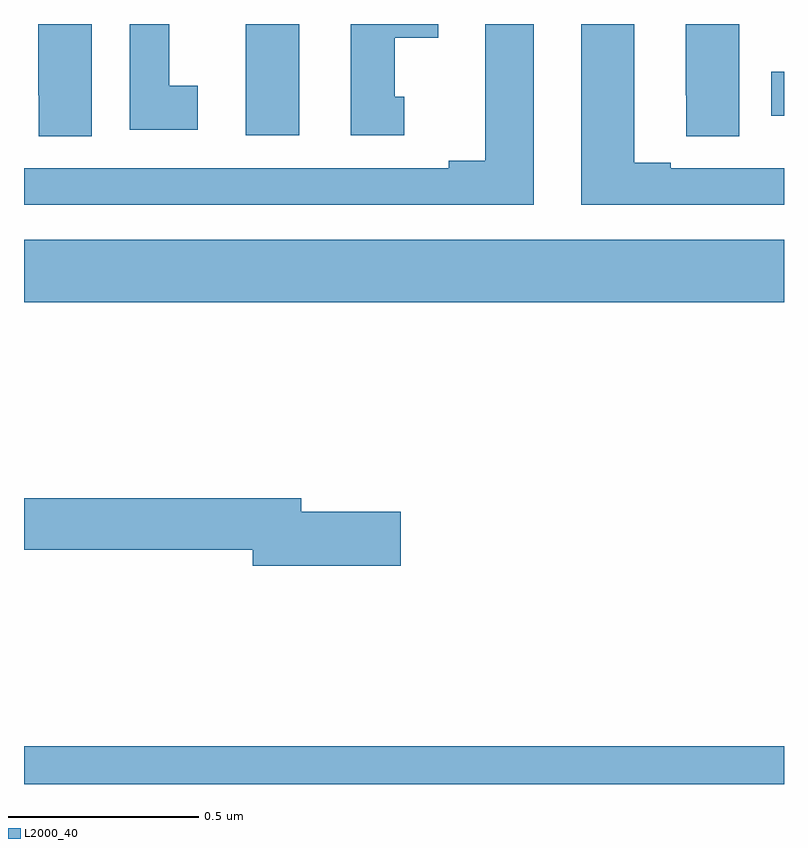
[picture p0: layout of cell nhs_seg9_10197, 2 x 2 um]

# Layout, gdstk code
import gdstk
lib = gdstk.Library(unit=1e-6, precision=1e-09)
def R(c, l, rs):  # rectangles x0, y0, x1, y1
    for r in rs: c.add(gdstk.rectangle(r[:2], r[2:], *l))
def P(c, l, *ps):  # polygons
    for p in ps: c.add(gdstk.Polygon(p, *l))
L2000_40 = (2000, 40)

nhs_seg9_10197 = lib.new_cell('nhs_seg9_10197')
R(nhs_seg9_10197, L2000_40, [(240,1180.5,242,1180.6), (240,1181.768,242,1181.932), (240.584,1182.207,240.724,1182.5), (241.967,1182.258,242,1182.375)])
P(nhs_seg9_10197, L2000_40, [(241.342,1182.5),(241.214,1182.5),(241.214,1182.14),(241.118,1182.14),(241.118,1182.12),(240,1182.12),(240,1182.024),(241.342,1182.024)],
  [(240.457,1182.338),(240.382,1182.338),(240.382,1182.5),(240.278,1182.5),(240.278,1182.222),(240.457,1182.222)],
  [(240.178,1182.5),(240.038,1182.5),(240.038,1182.313),(240.039,1182.313),(240.039,1182.205),(240.178,1182.205)],
  [(241,1182.309),(240.976,1182.309),(240.976,1182.464),(241.09,1182.464),(241.09,1182.5),(240.86,1182.5),(240.86,1182.207),(241,1182.207)],
  [(241.882,1182.5),(241.742,1182.5),(241.742,1182.313),(241.743,1182.313),(241.743,1182.205),(241.882,1182.205)],
  [(242,1182.121),(241.978,1182.121),(241.978,1182.12),(241.702,1182.12),(241.702,1182.135),(241.606,1182.135),(241.606,1182.5),(241.466,1182.5),(241.466,1182.024),(242,1182.024)],
  [(240.991,1181.216),(240.73,1181.216),(240.73,1181.252),(240,1181.252),(240,1181.116),(240.602,1181.116),(240.602,1181.074),(240.991,1181.074)])

lib.write_gds('nhs_seg9_10197.gds')
